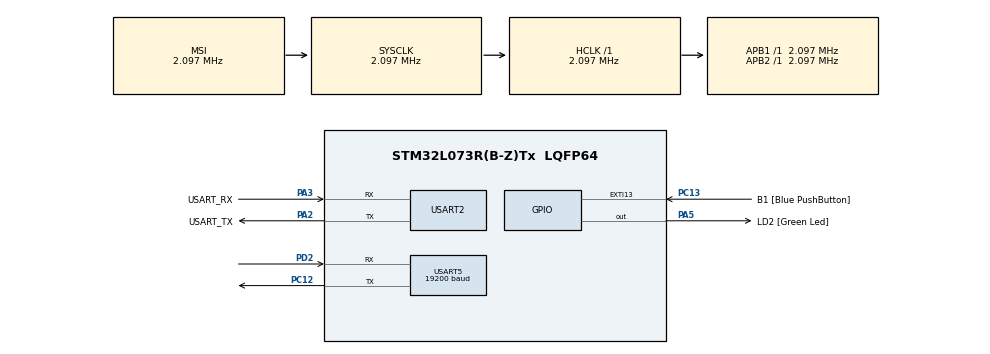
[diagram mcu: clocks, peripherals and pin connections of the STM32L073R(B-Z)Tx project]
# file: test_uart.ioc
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Mcu.Family=STM32L0
Mcu.Name=STM32L073R(B-Z)Tx
Mcu.Package=LQFP64
NVIC.USART4_5_IRQn=true\:0\:0\:false\:false\:true\:true\:true\:true
PA13.GPIO_Label=TMS
PA13.Mode=Serial_Wire
PA13.Signal=SYS_SWDIO
PA14.GPIO_Label=TCK
PA14.Mode=Serial_Wire
PA14.Signal=SYS_SWCLK
PA2.GPIO_Label=USART_TX
PA2.Mode=Asynchronous
PA2.Signal=USART2_TX
PA3.GPIO_Label=USART_RX
PA3.Mode=Asynchronous
PA3.Signal=USART2_RX
PA5.GPIO_Label=LD2 [Green Led]
PA5.Signal=GPIO_Output
PC12.Mode=Asynchronous
PC12.Signal=USART5_TX
PC13.GPIO_Label=B1 [Blue PushButton]
PC13.GPIO_ModeDefaultEXTI=GPIO_MODE_IT_FALLING
PC13.Signal=GPXTI13
PC14-OSC32_IN.Mode=LSE-External-Oscillator
PC14-OSC32_IN.Signal=RCC_OSC32_IN
PC15-OSC32_OUT.Mode=LSE-External-Oscillator
PC15-OSC32_OUT.Signal=RCC_OSC32_OUT
PD2.Mode=Asynchronous
PD2.Signal=USART5_RX
PH0-OSC_IN.GPIO_Label=MCO
PH0-OSC_IN.Mode=HSE-External-Clock-Source
PH0-OSC_IN.Signal=RCC_OSC_IN
ProjectManager.HeapSize=0x200
ProjectManager.StackSize=0x400
ProjectManager.TargetToolchain=STM32CubeIDE
RCC.AHBFreq_Value=2097000
RCC.APB1Freq_Value=2097000
RCC.APB1TimFreq_Value=2097000
RCC.APB2Freq_Value=2097000
RCC.APB2TimFreq_Value=2097000
RCC.HSE_VALUE=8000000
RCC.HSI16_VALUE=16000000
RCC.HSI48_VALUE=48000000
RCC.HSI_VALUE=16000000
RCC.MSI_VALUE=2097000
RCC.SYSCLKFreq_VALUE=2097000
RCC.VCOOutputFreq_Value=48000000
USART2.VirtualMode-Asynchronous=VM_ASYNC
USART5.BaudRate=19200
USART5.VirtualMode-Asynchronous=VM_ASYNC
board=NUCLEO-L073RZ

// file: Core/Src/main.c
/* USER CODE BEGIN Header */
/**
  ******************************************************************************
  * @file           : main.c
  * @brief          : Main program body
  ******************************************************************************
  * @attention
  *
  * Copyright (c) 2026 STMicroelectronics.
  * All rights reserved.
  *
  * This software is licensed under terms that can be found in the LICENSE file
  * in the root directory of this software component.
  * If no LICENSE file comes with this software, it is provided AS-IS.
  *
  ******************************************************************************
  */
/* USER CODE END Header */
#include "main.h"

/* USER CODE BEGIN Includes */
#include "enums.h"
/* USER CODE END Includes */

UART_HandleTypeDef huart2;
UART_HandleTypeDef huart5;

void SystemClock_Config(void);
static void MX_GPIO_Init(void);
static void MX_USART2_UART_Init(void);
static void MX_USART5_UART_Init(void);

/* USER CODE BEGIN 0 */
#define SOF 0xAA

uint8_t rx_byte;
uint8_t rx_array[4];

typedef enum {
    WAIT_SOF,
    WAIT_TYPE,
    WAIT_PAYLOAD
} RxState;

RxState state = WAIT_SOF;

uint8_t payload[8];
uint8_t payload_index = 0;
uint8_t payload_remaining = 0;

MsgID msg_id;

void HAL_UART_RxCpltCallback(UART_HandleTypeDef *huart)
{
	//HAL_GPIO_TogglePin(LD2_GPIO_Port, LD2_Pin);

	if (huart->Instance == USART5)
	{
		rx_byte;
		switch(state)
		{
			case WAIT_SOF:
			{
				if(rx_byte == SOF)
				{
					state = WAIT_TYPE;
				}
				break;
			}
			case WAIT_TYPE:
			{
				msg_id = rx_byte;
				state = WAIT_PAYLOAD;
				payload_remaining = getMessageSize(msg_id);
				break;
			}
			case WAIT_PAYLOAD:
			{
				payload[payload_index] = rx_byte;
				payload_index++;
				payload_remaining--;
				if (payload_remaining == 0)
				{
					HAL_GPIO_TogglePin(LD2_GPIO_Port, LD2_Pin);
					state = WAIT_SOF;
					payload_index = 0;
				}
			}
		}

		HAL_UART_Receive_IT(&huart5, &rx_byte, 1);
	}
}
/* USER CODE END 0 */

int main(void)
{

  /* MCU Configuration--------------------------------------------------------*/

  /* Reset of all peripherals, Initializes the Flash interface and the Systick. */
  HAL_Init();

  /* Configure the system clock */
  SystemClock_Config();

  /* Initialize all configured peripherals */
  MX_GPIO_Init();
  MX_USART2_UART_Init();
  MX_USART5_UART_Init();
  /* USER CODE BEGIN 2 */
  HAL_UART_Receive_IT(&huart5, &rx_byte, 1);
  /* USER CODE END 2 */

  /* Infinite loop */
  /* USER CODE BEGIN WHILE */
  while (1)
  {
	  if(HAL_GPIO_ReadPin(B1_GPIO_Port, B1_Pin) == GPIO_PIN_RESET)
	  {
		  HAL_GPIO_TogglePin(LD2_GPIO_Port, LD2_Pin);
	  }
	  HAL_Delay(1000);
    /* USER CODE END WHILE */

  }
}

void SystemClock_Config(void)
{
  RCC_OscInitTypeDef RCC_OscInitStruct = {0};
  RCC_ClkInitTypeDef RCC_ClkInitStruct = {0};
  RCC_PeriphCLKInitTypeDef PeriphClkInit = {0};

  /** Configure the main internal regulator output voltage
  */
  __HAL_PWR_VOLTAGESCALING_CONFIG(PWR_REGULATOR_VOLTAGE_SCALE1);

  /** Initializes the RCC Oscillators according to the specified parameters
  * in the RCC_OscInitTypeDef structure.
  */
  RCC_OscInitStruct.OscillatorType = RCC_OSCILLATORTYPE_MSI;
  RCC_OscInitStruct.MSIState = RCC_MSI_ON;
  RCC_OscInitStruct.MSICalibrationValue = 0;
  RCC_OscInitStruct.MSIClockRange = RCC_MSIRANGE_5;
  RCC_OscInitStruct.PLL.PLLState = RCC_PLL_NONE;
  if (HAL_RCC_OscConfig(&RCC_OscInitStruct) != HAL_OK)
  {
    Error_Handler();
  }

  /** Initializes the CPU, AHB and APB buses clocks
  */
  RCC_ClkInitStruct.ClockType = RCC_CLOCKTYPE_HCLK|RCC_CLOCKTYPE_SYSCLK
                              |RCC_CLOCKTYPE_PCLK1|RCC_CLOCKTYPE_PCLK2;
  RCC_ClkInitStruct.SYSCLKSource = RCC_SYSCLKSOURCE_MSI;
  RCC_ClkInitStruct.AHBCLKDivider = RCC_SYSCLK_DIV1;
  RCC_ClkInitStruct.APB1CLKDivider = RCC_HCLK_DIV1;
  RCC_ClkInitStruct.APB2CLKDivider = RCC_HCLK_DIV1;

  if (HAL_RCC_ClockConfig(&RCC_ClkInitStruct, FLASH_LATENCY_0) != HAL_OK)
  {
    Error_Handler();
  }
  PeriphClkInit.PeriphClockSelection = RCC_PERIPHCLK_USART2;
  PeriphClkInit.Usart2ClockSelection = RCC_USART2CLKSOURCE_PCLK1;
  if (HAL_RCCEx_PeriphCLKConfig(&PeriphClkInit) != HAL_OK)
  {
    Error_Handler();
  }
}

static void MX_USART2_UART_Init(void)
{

  huart2.Instance = USART2;
  huart2.Init.BaudRate = 115200;
  huart2.Init.WordLength = UART_WORDLENGTH_8B;
  huart2.Init.StopBits = UART_STOPBITS_1;
  huart2.Init.Parity = UART_PARITY_NONE;
  huart2.Init.Mode = UART_MODE_TX_RX;
  huart2.Init.HwFlowCtl = UART_HWCONTROL_NONE;
  huart2.Init.OverSampling = UART_OVERSAMPLING_16;
  huart2.Init.OneBitSampling = UART_ONE_BIT_SAMPLE_DISABLE;
  huart2.AdvancedInit.AdvFeatureInit = UART_ADVFEATURE_NO_INIT;
  if (HAL_UART_Init(&huart2) != HAL_OK)
  {
    Error_Handler();
  }

}

static void MX_USART5_UART_Init(void)
{

  huart5.Instance = USART5;
  huart5.Init.BaudRate = 19200;
  huart5.Init.WordLength = UART_WORDLENGTH_8B;
  huart5.Init.StopBits = UART_STOPBITS_1;
  huart5.Init.Parity = UART_PARITY_NONE;
  huart5.Init.Mode = UART_MODE_TX_RX;
  huart5.Init.HwFlowCtl = UART_HWCONTROL_NONE;
  huart5.Init.OverSampling = UART_OVERSAMPLING_16;
  huart5.Init.OneBitSampling = UART_ONE_BIT_SAMPLE_DISABLE;
  huart5.AdvancedInit.AdvFeatureInit = UART_ADVFEATURE_NO_INIT;
  if (HAL_UART_Init(&huart5) != HAL_OK)
  {
    Error_Handler();
  }

}

static void MX_GPIO_Init(void)
{
  GPIO_InitTypeDef GPIO_InitStruct = {0};

  /* GPIO Ports Clock Enable */
  __HAL_RCC_GPIOC_CLK_ENABLE();
  __HAL_RCC_GPIOH_CLK_ENABLE();
  __HAL_RCC_GPIOA_CLK_ENABLE();
  __HAL_RCC_GPIOD_CLK_ENABLE();

  /*Configure GPIO pin Output Level */
  HAL_GPIO_WritePin(LD2_GPIO_Port, LD2_Pin, GPIO_PIN_RESET);

  /*Configure GPIO pin : B1_Pin */
  GPIO_InitStruct.Pin = B1_Pin;
  GPIO_InitStruct.Mode = GPIO_MODE_IT_FALLING;
  GPIO_InitStruct.Pull = GPIO_NOPULL;
  HAL_GPIO_Init(B1_GPIO_Port, &GPIO_InitStruct);

  /*Configure GPIO pin : LD2_Pin */
  GPIO_InitStruct.Pin = LD2_Pin;
  GPIO_InitStruct.Mode = GPIO_MODE_OUTPUT_PP;
  GPIO_InitStruct.Pull = GPIO_NOPULL;
  GPIO_InitStruct.Speed = GPIO_SPEED_FREQ_LOW;
  HAL_GPIO_Init(LD2_GPIO_Port, &GPIO_InitStruct);

}

void Error_Handler(void)
{
  __disable_irq();
  while (1)
  {
  }
}
